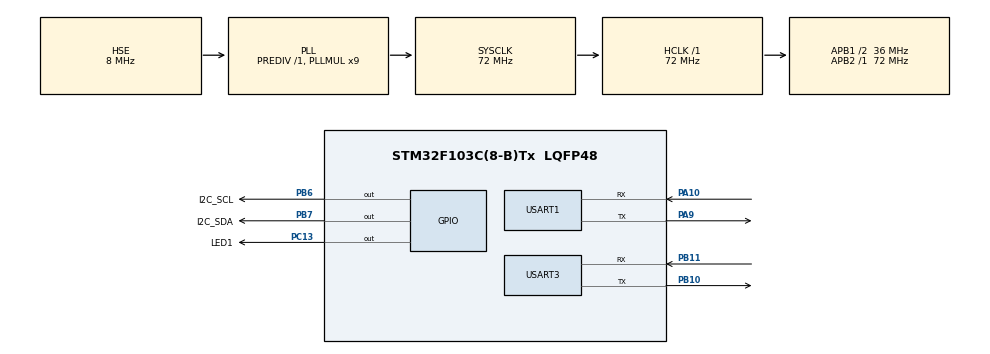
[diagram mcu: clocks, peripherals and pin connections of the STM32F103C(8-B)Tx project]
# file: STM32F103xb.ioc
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Dma.Request0=USART1_RX
Dma.Request1=USART3_RX
Dma.USART1_RX.0.Direction=DMA_PERIPH_TO_MEMORY
Dma.USART1_RX.0.Instance=DMA1_Channel5
Dma.USART1_RX.0.MemDataAlignment=DMA_MDATAALIGN_BYTE
Dma.USART1_RX.0.MemInc=DMA_MINC_ENABLE
Dma.USART1_RX.0.Mode=DMA_NORMAL
Dma.USART1_RX.0.PeriphDataAlignment=DMA_PDATAALIGN_BYTE
Dma.USART1_RX.0.PeriphInc=DMA_PINC_DISABLE
Dma.USART1_RX.0.Priority=DMA_PRIORITY_MEDIUM
Dma.USART3_RX.1.Direction=DMA_PERIPH_TO_MEMORY
Dma.USART3_RX.1.Instance=DMA1_Channel3
Dma.USART3_RX.1.MemDataAlignment=DMA_MDATAALIGN_BYTE
Dma.USART3_RX.1.MemInc=DMA_MINC_ENABLE
Dma.USART3_RX.1.Mode=DMA_NORMAL
Dma.USART3_RX.1.PeriphDataAlignment=DMA_PDATAALIGN_BYTE
Dma.USART3_RX.1.PeriphInc=DMA_PINC_DISABLE
Dma.USART3_RX.1.Priority=DMA_PRIORITY_MEDIUM
Mcu.Family=STM32F1
Mcu.Name=STM32F103C(8-B)Tx
Mcu.Package=LQFP48
NVIC.DMA1_Channel3_IRQn=true\:0\:0\:false\:false\:true\:false\:true
NVIC.DMA1_Channel5_IRQn=true\:0\:0\:false\:false\:true\:false\:true
NVIC.PriorityGroup=NVIC_PRIORITYGROUP_4
NVIC.RTC_IRQn=true\:0\:0\:false\:false\:true\:true\:true
NVIC.USART1_IRQn=true\:0\:0\:false\:false\:true\:true\:true
NVIC.USART3_IRQn=true\:0\:0\:false\:false\:true\:true\:true
PA10.Mode=Asynchronous
PA10.Signal=USART1_RX
PA13.Mode=Serial_Wire
PA13.Signal=SYS_JTMS-SWDIO
PA14.Mode=Serial_Wire
PA14.Signal=SYS_JTCK-SWCLK
PA9.Mode=Asynchronous
PA9.Signal=USART1_TX
PB10.Mode=Asynchronous
PB10.Signal=USART3_TX
PB11.Mode=Asynchronous
PB11.Signal=USART3_RX
PB6.GPIO_Label=I2C_SCL
PB6.GPIO_ModeDefaultOutputPP=GPIO_MODE_OUTPUT_OD
PB6.GPIO_Speed=GPIO_SPEED_FREQ_HIGH
PB6.PinState=GPIO_PIN_SET
PB6.Signal=GPIO_Output
PB7.GPIO_Label=I2C_SDA
PB7.GPIO_ModeDefaultOutputPP=GPIO_MODE_OUTPUT_OD
PB7.GPIO_Speed=GPIO_SPEED_FREQ_HIGH
PB7.PinState=GPIO_PIN_SET
PB7.Signal=GPIO_Output
PC13-TAMPER-RTC.GPIO_Label=LED1
PC13-TAMPER-RTC.PinState=GPIO_PIN_SET
PC13-TAMPER-RTC.Signal=GPIO_Output
PC14-OSC32_IN.Mode=LSE-External-Oscillator
PC14-OSC32_IN.Signal=RCC_OSC32_IN
PC15-OSC32_OUT.Mode=LSE-External-Oscillator
PC15-OSC32_OUT.Signal=RCC_OSC32_OUT
PD0-OSC_IN.Mode=HSE-External-Oscillator
PD0-OSC_IN.Signal=RCC_OSC_IN
PD1-OSC_OUT.Mode=HSE-External-Oscillator
PD1-OSC_OUT.Signal=RCC_OSC_OUT
ProjectManager.HeapSize=0x200
ProjectManager.StackSize=0x400
ProjectManager.TargetToolchain=MDK-ARM V5.32
RCC.AHBFreq_Value=72000000
RCC.APB1CLKDivider=RCC_HCLK_DIV2
RCC.APB1Freq_Value=36000000
RCC.APB1TimFreq_Value=72000000
RCC.APB2Freq_Value=72000000
RCC.APB2TimFreq_Value=72000000
RCC.HCLKFreq_Value=72000000
RCC.PLLMUL=RCC_PLL_MUL9
RCC.PLLSourceVirtual=RCC_PLLSOURCE_HSE
RCC.SYSCLKFreq_VALUE=72000000
RCC.SYSCLKSource=RCC_SYSCLKSOURCE_PLLCLK
RCC.USBFreq_Value=72000000
RTC.Date=5
RTC.Hours=20
RTC.Minutes=10
RTC.Month=RTC_MONTH_MAY
RTC.WeekDay=RTC_WEEKDAY_TUESDAY
RTC.Year=16
USART1.VirtualMode=VM_ASYNC
USART3.VirtualMode=VM_ASYNC
VP_RTC_No_RTC_Output.Mode=RTC_OUT_NO
VP_RTC_VS_RTC_Activate.Mode=RTC_Enabled
VP_RTC_VS_RTC_Calendar.Mode=RTC_Calendar
board=custom

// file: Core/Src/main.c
/* USER CODE BEGIN Header */
/**
  ******************************************************************************
  * @file           : main.c
  * @brief          : Main program body
  ******************************************************************************
  * @attention
  *
  * <h2><center>&copy; Copyright (c) 2023 STMicroelectronics.
  * All rights reserved.</center></h2>
  *
  * This software component is licensed by ST under BSD 3-Clause license,
  * the "License"; You may not use this file except in compliance with the
  * License. You may obtain a copy of the License at:
  *                        opensource.org/licenses/BSD-3-Clause
  *
  ******************************************************************************
  */
/* USER CODE END Header */
#include "main.h"
#include "dma.h"
#include "rtc.h"
#include "usart.h"
#include "gpio.h"

/* USER CODE BEGIN Includes */
//sys
#include "stdio.h"
#include "string.h"
#include "delay.h"
#include "i2c.h"

//application
#include "mqtt.h"

//middlewares
#include "u8g2.h"
#include "oled_ui.h"

//hardwares
#include "led.h"
#include "esp8266.h"

/* USER CODE END Includes */

/* USER CODE BEGIN PM */
#define WIFI_NAME 		"HUAWEI_S10"
#define WIFI_PASSWORD 	"sb123456"

//默认域名(DNS)格式：{ProductID}.iotcloud.tencentdevices.com
#define TencentCloud_ServerIp    "106.55.124.154"   //#云服务器ip地址[固定值]
#define TencentCloud_ServerPort  1883               //#云服务器端口号[固定值]

//物联网平台上的"设备"信息(主要用于生成下述MQTT连接所使用的相关信息)
#define ProductID       "I2UTOKP9RE"                //#产品ID
#define DeviceName      "dev1"                   	//#设备名称
#define DeviceSceret    "yZQeHJUw24KJJ+1Z3iMsbg=="  //#设备密钥[定期自动更新] - [最后更新时间:2023-06-07 17:16:43]
#define clientToken     "123"                       //#客户端令牌，主要用于消息匹配

//通过MQTT协议连接腾讯云物联网云平台所需关键信息[随着设备密钥的更新而更新] - [最后更新时间:2023-06-07]
#define UserName    "I2UTOKP9REdev1;12010126;8Z0AK;1686728631"                                 	//#用户名称,格式固定：由专门的软件生成
#define Password    "0c23b14b50c9b751644b4df8483e898dd192835d65a8e6a0c3a211496ee22684;hmacsha256" 	//#密码,格式固定：由专门的软件生成

//#define Seniverse_ServerIP		"api.seniverse.com"
//#define Seniverse_ServerPort	80
//#define SeniverseAPI "GET https://api.seniverse.com/v3/weather/now.json?key=S0E1V0SzhjSNMOB2S&location=beijing&language=en&unit=c\r\n"
/* USER CODE END PM */

/* USER CODE BEGIN PV */
char message[512];      //#消息
char ClientID[50];      //#客户端ID,格式固定：{ProductID}{DeviceName}
char TencentCloud_PublishTopic[100];     //#腾讯云平台发布主题
char TencentCloud_SubscribeTopic[100];   //#腾讯云平台订阅主题
char TencentApp_SubscribeTopic[100];     //#腾讯连连订阅主题
/* USER CODE END PV */

void SystemClock_Config(void);

/* USER CODE BEGIN 0 */
//RTC_DateTypeDef GetDate;	// 获取日期结构体
//RTC_DateTypeDef SetDate;	// 设置日期结构体
//RTC_TimeTypeDef GetTime;	// 获取时间结构体
//RTC_TimeTypeDef SetTime;	// 设置时间结构体

/* USER CODE END 0 */

int main(void)
{

  /* MCU Configuration--------------------------------------------------------*/

  /* Reset of all peripherals, Initializes the Flash interface and the Systick. */
  HAL_Init();

  /* Configure the system clock */
  SystemClock_Config();
  /* USER CODE BEGIN SysInit */
	delay_init();
  /* USER CODE END SysInit */

  /* Initialize all configured peripherals */
  MX_GPIO_Init();
  MX_DMA_Init();
  MX_RTC_Init();
  MX_USART1_UART_Init();
  MX_USART3_UART_Init();
  /* USER CODE BEGIN 2 */

    //ui_draw_image();
	/***********************************连接云服务器***********************************/
	while (ESP8266_TCPClient_Init(WIFI_NAME, WIFI_PASSWORD, TencentCloud_ServerIp, TencentCloud_ServerPort)){}
	/**************************连接云服务器上的物联网开发平台*************************/
    printf("【连接】与腾讯云物联网开发平台建立MQTT连接........");
    sprintf(ClientID, "%s%s", ProductID, DeviceName);
    while (MQTT_Connect(ClientID, UserName, Password));

	/**********************************主动订阅相关主题********************************/
    sprintf(TencentCloud_PublishTopic, "$thing/up/property/%s/%s", ProductID, DeviceName);
    sprintf(TencentCloud_SubscribeTopic, "$thing/down/property/%s/%s", ProductID, DeviceName);
    sprintf(TencentApp_SubscribeTopic, "$thing/down/service/%s/%s", ProductID, DeviceName);

    printf("【订阅】\"腾讯云物联网开发平台\"主题................");
    MQTT_Subscribe(TencentCloud_SubscribeTopic, 1, 0);
    printf("【订阅】\"腾讯连连微信小程序\"主题..................");
    MQTT_Subscribe(TencentApp_SubscribeTopic, 1, 0);

  /* USER CODE END 2 */

  /* Infinite loop */
  /* USER CODE BEGIN WHILE */
    uint16_t count = 0;
	uint16_t i, j;
    while (1)
    {
//		delay_ms(1000);
//		count++;
//		if (count == 3)
//		{
//			HAL_UART_Transmit(&huart3, (uint8_t *)SeniverseAPI, strlen(SeniverseAPI), 0xFFFF);
//			count = 0;
//		}

        /*------------------------------串口1接收------------------------------*/
        if (usart1.rx_flag)
        {
			LED1 = !LED1;
            printf("usart[1]_rx:%s\n", usart1.rx_buffer);
			HAL_UART_Transmit(&huart3, usart1.rx_buffer, strlen((char *)(usart1.rx_buffer)), 0xFFFF);
			usart1.rx_flag = 0;
            usart1.rx_size = 0;
            memset(usart1.rx_buffer, 0, RXBUFFERSIZE);
		}
		if (usart3.rx_flag)
        {
//            printf("usart[3]_rx:\n%s\n", usart3.rx_buffer);
			/* 过滤 '\0' */
            for(i = 0; i < usart3.rx_size; i++)
            {
                if(usart3.rx_buffer[i] != '\0')
                    message[j++] = usart3.rx_buffer[i];
            }
            message[j] = '\0';
			if (strstr(message, "\"switch\":1"))
				LED1 = !LED1;
            printf("【下行】\n%s\n", message);
			usart3.rx_flag = 0;
            usart3.rx_size = 0;
			j = 0;
			memset(message, 0, sizeof(message));
            memset(usart3.rx_buffer, 0, RXBUFFERSIZE);
		}

        /*---------------------------------end---------------------------------*/
    /* USER CODE END WHILE */

    /* USER CODE BEGIN 3 */
        //////////运行指示灯///////////
        delay_ms(1);
        count++;
        if (count % 100000 == 0)
        {
            LED1 = !LED1;
			MQTT_PingReqPer100s(); /* 保活 */
            count = 0;
        }
        ///////////////////////////////
    }
  /* USER CODE END 3 */
}

void SystemClock_Config(void)
{
  RCC_OscInitTypeDef RCC_OscInitStruct = {0};
  RCC_ClkInitTypeDef RCC_ClkInitStruct = {0};
  RCC_PeriphCLKInitTypeDef PeriphClkInit = {0};

  /** Initializes the RCC Oscillators according to the specified parameters
  * in the RCC_OscInitTypeDef structure.
  */
  RCC_OscInitStruct.OscillatorType = RCC_OSCILLATORTYPE_LSI|RCC_OSCILLATORTYPE_HSE;
  RCC_OscInitStruct.HSEState = RCC_HSE_ON;
  RCC_OscInitStruct.HSEPredivValue = RCC_HSE_PREDIV_DIV1;
  RCC_OscInitStruct.HSIState = RCC_HSI_ON;
  RCC_OscInitStruct.LSIState = RCC_LSI_ON;
  RCC_OscInitStruct.PLL.PLLState = RCC_PLL_ON;
  RCC_OscInitStruct.PLL.PLLSource = RCC_PLLSOURCE_HSE;
  RCC_OscInitStruct.PLL.PLLMUL = RCC_PLL_MUL9;
  if (HAL_RCC_OscConfig(&RCC_OscInitStruct) != HAL_OK)
  {
    Error_Handler();
  }
  /** Initializes the CPU, AHB and APB buses clocks
  */
  RCC_ClkInitStruct.ClockType = RCC_CLOCKTYPE_HCLK|RCC_CLOCKTYPE_SYSCLK
                              |RCC_CLOCKTYPE_PCLK1|RCC_CLOCKTYPE_PCLK2;
  RCC_ClkInitStruct.SYSCLKSource = RCC_SYSCLKSOURCE_PLLCLK;
  RCC_ClkInitStruct.AHBCLKDivider = RCC_SYSCLK_DIV1;
  RCC_ClkInitStruct.APB1CLKDivider = RCC_HCLK_DIV2;
  RCC_ClkInitStruct.APB2CLKDivider = RCC_HCLK_DIV1;

  if (HAL_RCC_ClockConfig(&RCC_ClkInitStruct, FLASH_LATENCY_2) != HAL_OK)
  {
    Error_Handler();
  }
  PeriphClkInit.PeriphClockSelection = RCC_PERIPHCLK_RTC;
  PeriphClkInit.RTCClockSelection = RCC_RTCCLKSOURCE_LSI;
  if (HAL_RCCEx_PeriphCLKConfig(&PeriphClkInit) != HAL_OK)
  {
    Error_Handler();
  }
}

void Error_Handler(void)
{
    __disable_irq();
    while (1)
    {
    }
}

/************************ (C) COPYRIGHT STMicroelectronics *****END OF FILE****/
